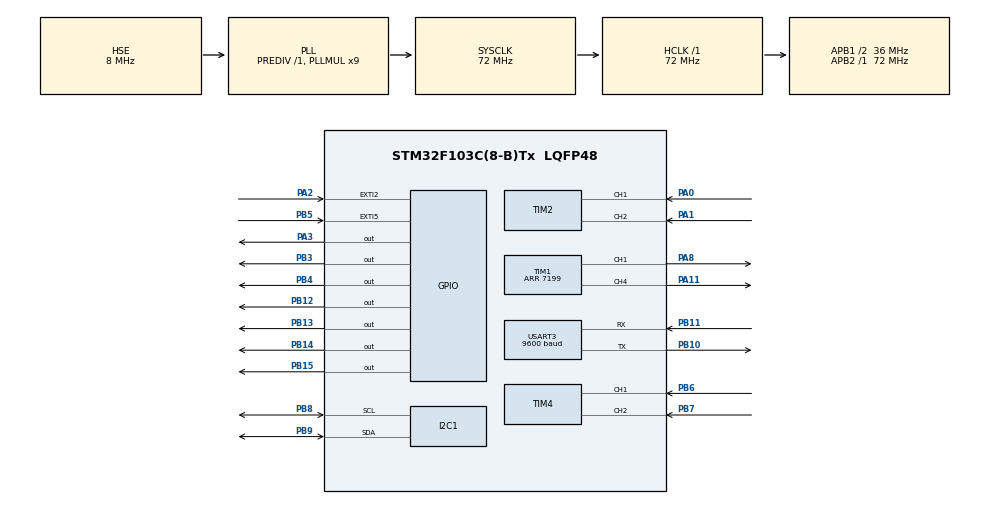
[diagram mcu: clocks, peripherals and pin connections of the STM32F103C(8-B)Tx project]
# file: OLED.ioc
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Dma.Request0=USART3_RX
Dma.USART3_RX.0.Direction=DMA_PERIPH_TO_MEMORY
Dma.USART3_RX.0.Instance=DMA1_Channel3
Dma.USART3_RX.0.MemDataAlignment=DMA_MDATAALIGN_BYTE
Dma.USART3_RX.0.MemInc=DMA_MINC_ENABLE
Dma.USART3_RX.0.Mode=DMA_NORMAL
Dma.USART3_RX.0.PeriphDataAlignment=DMA_PDATAALIGN_BYTE
Dma.USART3_RX.0.PeriphInc=DMA_PINC_DISABLE
Dma.USART3_RX.0.Priority=DMA_PRIORITY_LOW
FREERTOS.Tasks01=defaultTask,0,128,StartDefaultTask,Default,NULL,Dynamic,NULL,NULL
Mcu.Family=STM32F1
Mcu.Name=STM32F103C(8-B)Tx
Mcu.Package=LQFP48
NVIC.DMA1_Channel3_IRQn=true\:5\:0\:false\:false\:true\:true\:false\:true\:true
NVIC.EXTI2_IRQn=true\:5\:0\:false\:false\:true\:true\:true\:true\:true
NVIC.EXTI9_5_IRQn=true\:5\:0\:false\:false\:true\:true\:true\:true\:true
NVIC.PriorityGroup=NVIC_PRIORITYGROUP_4
NVIC.USART3_IRQn=true\:5\:0\:false\:false\:true\:true\:true\:true\:true
PA0-WKUP.Signal=S_TIM2_CH1_ETR
PA1.Signal=S_TIM2_CH2
PA11.Signal=S_TIM1_CH4
PA13.Mode=Serial_Wire
PA13.Signal=SYS_JTMS-SWDIO
PA14.Mode=Serial_Wire
PA14.Signal=SYS_JTCK-SWCLK
PA2.GPIO_ModeDefaultEXTI=GPIO_MODE_IT_RISING_FALLING
PA2.Signal=GPXTI2
PA3.GPIO_Speed=GPIO_SPEED_FREQ_HIGH
PA3.Signal=GPIO_Output
PA8.Signal=S_TIM1_CH1
PB10.Mode=Asynchronous
PB10.Signal=USART3_TX
PB11.Mode=Asynchronous
PB11.Signal=USART3_RX
PB12.Signal=GPIO_Output
PB13.Signal=GPIO_Output
PB14.Signal=GPIO_Output
PB15.Signal=GPIO_Output
PB3.Signal=GPIO_Output
PB4.Signal=GPIO_Output
PB5.GPIO_ModeDefaultEXTI=GPIO_MODE_IT_FALLING
PB5.GPIO_PuPd=GPIO_PULLUP
PB5.Signal=GPXTI5
PB6.Signal=S_TIM4_CH1
PB7.Signal=S_TIM4_CH2
PB8.Mode=I2C
PB8.Signal=I2C1_SCL
PB9.Mode=I2C
PB9.Signal=I2C1_SDA
PC14-OSC32_IN.Mode=LSE-External-Oscillator
PC14-OSC32_IN.Signal=RCC_OSC32_IN
PC15-OSC32_OUT.Mode=LSE-External-Oscillator
PC15-OSC32_OUT.Signal=RCC_OSC32_OUT
PD0-OSC_IN.Mode=HSE-External-Oscillator
PD0-OSC_IN.Signal=RCC_OSC_IN
PD1-OSC_OUT.Mode=HSE-External-Oscillator
PD1-OSC_OUT.Signal=RCC_OSC_OUT
ProjectManager.HeapSize=0x200
ProjectManager.StackSize=0x400
ProjectManager.TargetToolchain=MDK-ARM V5.32
RCC.AHBFreq_Value=72000000
RCC.APB1CLKDivider=RCC_HCLK_DIV2
RCC.APB1Freq_Value=36000000
RCC.APB1TimFreq_Value=72000000
RCC.APB2Freq_Value=72000000
RCC.APB2TimFreq_Value=72000000
RCC.HCLKFreq_Value=72000000
RCC.PLLMUL=RCC_PLL_MUL9
RCC.PLLSourceVirtual=RCC_PLLSOURCE_HSE
RCC.SYSCLKFreq_VALUE=72000000
RCC.SYSCLKSource=RCC_SYSCLKSOURCE_PLLCLK
RCC.USBFreq_Value=72000000
SH.S_TIM1_CH1.0=TIM1_CH1,PWM Generation1 CH1
SH.S_TIM1_CH4.0=TIM1_CH4,PWM Generation4 CH4
SH.S_TIM2_CH1_ETR.0=TIM2_CH1,Encoder_Interface
SH.S_TIM2_CH2.0=TIM2_CH2,Encoder_Interface
SH.S_TIM4_CH1.0=TIM4_CH1,Encoder_Interface
SH.S_TIM4_CH2.0=TIM4_CH2,Encoder_Interface
TIM1.Channel-PWM\ Generation1\ CH1=TIM_CHANNEL_1
TIM1.Channel-PWM\ Generation4\ CH4=TIM_CHANNEL_4
TIM1.Period=7199
TIM1.Pulse-PWM\ Generation1\ CH1=7200
TIM1.Pulse-PWM\ Generation4\ CH4=7200
TIM2.EncoderMode=TIM_ENCODERMODE_TI12
TIM3.Prescaler=71
TIM4.EncoderMode=TIM_ENCODERMODE_TI12
USART3.BaudRate=9600
USART3.VirtualMode=VM_ASYNC
VP_FREERTOS_VS_CMSIS_V1.Mode=CMSIS_V1
VP_TIM3_VS_ClockSourceINT.Mode=Internal
board=custom

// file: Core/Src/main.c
/* USER CODE BEGIN Header */
/**
  ******************************************************************************
  * @file           : main.c
  * @brief          : Main program body
  ******************************************************************************
  * @attention
  *
  * Copyright (c) 2025 STMicroelectronics.
  * All rights reserved.
  *
  * This software is licensed under terms that can be found in the LICENSE file
  * in the root directory of this software component.
  * If no LICENSE file comes with this software, it is provided AS-IS.
  *
  ******************************************************************************
  */
/* USER CODE END Header */
#include "main.h"
#include "cmsis_os.h"
#include "dma.h"
#include "i2c.h"
#include "tim.h"
#include "usart.h"
#include "gpio.h"

/* USER CODE BEGIN Includes */
#include "FreeRTOS.h"
#include "task.h"
#include <stdio.h>
/* USER CODE END Includes */

void SystemClock_Config(void);
void MX_FREERTOS_Init(void);

/* USER CODE BEGIN 0 */
// 栈溢出检测钩子函数
void vApplicationStackOverflowHook(TaskHandle_t xTask, char *pcTaskName)
{
    // 关闭中断防止进一步损坏系统
    taskDISABLE_INTERRUPTS();

    // 可以输出到串口或使用 LED 警告
    printf("Stack overflow detected in task: %s\r\n", pcTaskName);

    // 可选：进入死循环或系统复位
    for (;;);
}
/* USER CODE END 0 */

int main(void)
{

  /* MCU Configuration--------------------------------------------------------*/

  /* Reset of all peripherals, Initializes the Flash interface and the Systick. */
  HAL_Init();

  /* Configure the system clock */
  SystemClock_Config();

  /* Initialize all configured peripherals */
  MX_GPIO_Init();
  MX_DMA_Init();
  MX_I2C1_Init();
  MX_TIM3_Init();
  MX_TIM1_Init();
  MX_TIM2_Init();
  MX_TIM4_Init();
  MX_USART3_UART_Init();

  /* Call init function for freertos objects (in cmsis_os2.c) */
  MX_FREERTOS_Init();

  /* Start scheduler */
  osKernelStart();

  /* We should never get here as control is now taken by the scheduler */

  /* Infinite loop */
  while (1)
  {

  }
}

void SystemClock_Config(void)
{
  RCC_OscInitTypeDef RCC_OscInitStruct = {0};
  RCC_ClkInitTypeDef RCC_ClkInitStruct = {0};

  /** Initializes the RCC Oscillators according to the specified parameters
  * in the RCC_OscInitTypeDef structure.
  */
  RCC_OscInitStruct.OscillatorType = RCC_OSCILLATORTYPE_HSE;
  RCC_OscInitStruct.HSEState = RCC_HSE_ON;
  RCC_OscInitStruct.HSEPredivValue = RCC_HSE_PREDIV_DIV1;
  RCC_OscInitStruct.HSIState = RCC_HSI_ON;
  RCC_OscInitStruct.PLL.PLLState = RCC_PLL_ON;
  RCC_OscInitStruct.PLL.PLLSource = RCC_PLLSOURCE_HSE;
  RCC_OscInitStruct.PLL.PLLMUL = RCC_PLL_MUL9;
  if (HAL_RCC_OscConfig(&RCC_OscInitStruct) != HAL_OK)
  {
    Error_Handler();
  }

  /** Initializes the CPU, AHB and APB buses clocks
  */
  RCC_ClkInitStruct.ClockType = RCC_CLOCKTYPE_HCLK|RCC_CLOCKTYPE_SYSCLK
                              |RCC_CLOCKTYPE_PCLK1|RCC_CLOCKTYPE_PCLK2;
  RCC_ClkInitStruct.SYSCLKSource = RCC_SYSCLKSOURCE_PLLCLK;
  RCC_ClkInitStruct.AHBCLKDivider = RCC_SYSCLK_DIV1;
  RCC_ClkInitStruct.APB1CLKDivider = RCC_HCLK_DIV2;
  RCC_ClkInitStruct.APB2CLKDivider = RCC_HCLK_DIV1;

  if (HAL_RCC_ClockConfig(&RCC_ClkInitStruct, FLASH_LATENCY_2) != HAL_OK)
  {
    Error_Handler();
  }
}

void Error_Handler(void)
{
  __disable_irq();
  while (1)
  {
  }
}

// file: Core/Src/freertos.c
/* USER CODE BEGIN Header */
/**
  ******************************************************************************
  * File Name          : freertos.c
  * Description        : Code for freertos applications
  ******************************************************************************
  * @attention
  *
  * Copyright (c) 2025 STMicroelectronics.
  * All rights reserved.
  *
  * This software is licensed under terms that can be found in the LICENSE file
  * in the root directory of this software component.
  * If no LICENSE file comes with this software, it is provided AS-IS.
  *
  ******************************************************************************
  */
/* USER CODE END Header */

#include "FreeRTOS.h"
#include "task.h"
#include "main.h"
#include "tim.h"
#include "usart.h"
#include "cmsis_os.h"

/* USER CODE BEGIN Includes */
#include "control_task.h"
#include "sr04_task.h"
#include "blue_task.h"
#include "get_distance_task.h"
#include "oled_task.h"

#include "oled.h"
#include "IIC.h"
#include "inv_mpu.h"
#include "inv_mpu_dmp_motion_driver.h"
#include "mpu6050.h"
#include "stdio.h"
#include "motor.h"
/* USER CODE END Includes */

/* USER CODE BEGIN Variables */
extern uint8_t rx_buf[2];

osThreadId controlTaskHandle;
osThreadId sr04TaskHandle;
osThreadId blueTaskHandle;
osThreadId oledTaskHandle;
osThreadId GetDistanceTaskHandle;
/* USER CODE END Variables */
osThreadId defaultTaskHandle;

void StartDefaultTask(void const * argument);

void MX_FREERTOS_Init(void); /* (MISRA C 2004 rule 8.1) */

/* GetIdleTaskMemory prototype (linked to static allocation support) */
void vApplicationGetIdleTaskMemory( StaticTask_t **ppxIdleTaskTCBBuffer, StackType_t **ppxIdleTaskStackBuffer, uint32_t *pulIdleTaskStackSize );

/* USER CODE BEGIN GET_IDLE_TASK_MEMORY */
static StaticTask_t xIdleTaskTCBBuffer;
static StackType_t xIdleStack[configMINIMAL_STACK_SIZE];

void vApplicationGetIdleTaskMemory( StaticTask_t **ppxIdleTaskTCBBuffer, StackType_t **ppxIdleTaskStackBuffer, uint32_t *pulIdleTaskStackSize )
{
  *ppxIdleTaskTCBBuffer = &xIdleTaskTCBBuffer;
  *ppxIdleTaskStackBuffer = &xIdleStack[0];
  *pulIdleTaskStackSize = configMINIMAL_STACK_SIZE;
  /* place for user code */
}
/* USER CODE END GET_IDLE_TASK_MEMORY */

void MX_FREERTOS_Init(void) {
  /* USER CODE BEGIN Init */
	OLED_Init();
  MPU_Init();
  mpu_dmp_init();
  OLED_Clear();
  OLED_ShowString(0,00,"Init Success",16);
  HAL_NVIC_SetPriority(EXTI9_5_IRQn, 0, 0);
  HAL_NVIC_EnableIRQ(EXTI9_5_IRQn);
  HAL_TIM_PWM_Start(&htim1,TIM_CHANNEL_1);
  HAL_TIM_PWM_Start(&htim1,TIM_CHANNEL_4);
  HAL_TIM_Encoder_Start(&htim2,TIM_CHANNEL_ALL);
  HAL_TIM_Encoder_Start(&htim4,TIM_CHANNEL_ALL);
  HAL_UART_Receive_IT(&huart3,rx_buf,1);
  Load(0,0);
  OLED_Clear();
  /* USER CODE END Init */

  /* Create the thread(s) */
  /* definition and creation of defaultTask */
  osThreadDef(defaultTask, StartDefaultTask, osPriorityNormal, 0, 128);
  defaultTaskHandle = osThreadCreate(osThread(defaultTask), NULL);

  /* USER CODE BEGIN RTOS_THREADS */
  osThreadDef(control_task, control_task, osPriorityRealtime, 0, 256);
  controlTaskHandle = osThreadCreate(osThread(control_task), NULL);

  osThreadDef(sr04_task, sr04_task, osPriorityAboveNormal, 0, 128);
  sr04TaskHandle = osThreadCreate(osThread(sr04_task), NULL);

	osThreadDef(get_distance_task, get_distance_task, osPriorityBelowNormal, 0, 128);
  GetDistanceTaskHandle = osThreadCreate(osThread(get_distance_task), NULL);

	osThreadDef(oled_task, oled_task, osPriorityLow, 0, 128);
  oledTaskHandle = osThreadCreate(osThread(oled_task), NULL);

  osThreadDef(blue_task, blue_task, osPriorityHigh, 0, 128);
  blueTaskHandle = osThreadCreate(osThread(blue_task), NULL);
  /* USER CODE END RTOS_THREADS */

}

void StartDefaultTask(void const * argument)
{
  for(;;)
  {
    osDelay(1);
  }
}

/* USER CODE BEGIN Application */
void HAL_GPIO_EXTI_Callback(uint16_t GPIO_Pin)
{
    BaseType_t xHigherPriorityTaskWoken;
	if(GPIO_Pin == GPIO_PIN_5)
    {
		//任务通知唤醒控制任务
		if (xTaskGetSchedulerState() != taskSCHEDULER_NOT_STARTED)
        {
            vTaskNotifyGiveFromISR(control_task_handler, &xHigherPriorityTaskWoken);
        }
    }
	if(GPIO_Pin==GPIO_PIN_2)
	{
		//任务通知唤醒超声波任务
		if (xTaskGetSchedulerState() != taskSCHEDULER_NOT_STARTED)
        {
            vTaskNotifyGiveFromISR(sr04_task_handler, &xHigherPriorityTaskWoken);
        }
	}
	portYIELD_FROM_ISR(xHigherPriorityTaskWoken);//强制上下文切换
}

/* USER CODE END Application */
